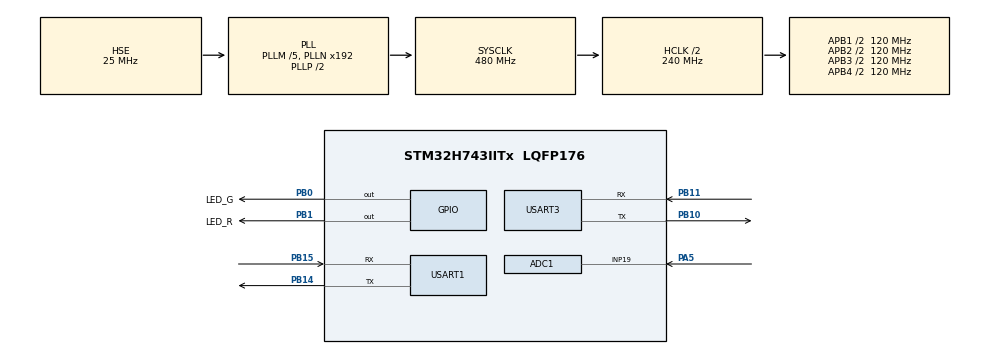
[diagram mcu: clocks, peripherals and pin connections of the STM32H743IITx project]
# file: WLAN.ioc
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ADC1.Channel-0\#ChannelRegularConversion=ADC_CHANNEL_19
ADC1.ExternalTrigConv=ADC_EXTERNALTRIG_T15_TRGO
ADC1.NbrOfConversionFlag=1
ADC1.OffsetNumber-0\#ChannelRegularConversion=ADC_OFFSET_NONE
ADC1.OffsetSignedSaturation-0\#ChannelRegularConversion=DISABLE
ADC1.Rank-0\#ChannelRegularConversion=1
ADC1.SamplingTime-0\#ChannelRegularConversion=ADC_SAMPLETIME_1CYCLE_5
ADC1.master=1
Dma.ADC1.2.Direction=DMA_PERIPH_TO_MEMORY
Dma.ADC1.2.EventEnable=DISABLE
Dma.ADC1.2.FIFOMode=DMA_FIFOMODE_DISABLE
Dma.ADC1.2.Instance=DMA1_Stream2
Dma.ADC1.2.MemDataAlignment=DMA_MDATAALIGN_HALFWORD
Dma.ADC1.2.MemInc=DMA_MINC_ENABLE
Dma.ADC1.2.Mode=DMA_CIRCULAR
Dma.ADC1.2.PeriphDataAlignment=DMA_PDATAALIGN_HALFWORD
Dma.ADC1.2.PeriphInc=DMA_PINC_DISABLE
Dma.ADC1.2.Polarity=HAL_DMAMUX_REQ_GEN_RISING
Dma.ADC1.2.Priority=DMA_PRIORITY_HIGH
Dma.ADC1.2.RequestNumber=1
Dma.ADC1.2.SignalID=NONE
Dma.ADC1.2.SyncEnable=DISABLE
Dma.ADC1.2.SyncPolarity=HAL_DMAMUX_SYNC_NO_EVENT
Dma.ADC1.2.SyncRequestNumber=1
Dma.ADC1.2.SyncSignalID=NONE
Dma.Request0=USART1_RX
Dma.Request1=USART3_RX
Dma.Request2=ADC1
Dma.USART1_RX.0.Direction=DMA_PERIPH_TO_MEMORY
Dma.USART1_RX.0.EventEnable=DISABLE
Dma.USART1_RX.0.FIFOMode=DMA_FIFOMODE_DISABLE
Dma.USART1_RX.0.Instance=DMA1_Stream0
Dma.USART1_RX.0.MemDataAlignment=DMA_MDATAALIGN_BYTE
Dma.USART1_RX.0.MemInc=DMA_MINC_ENABLE
Dma.USART1_RX.0.Mode=DMA_NORMAL
Dma.USART1_RX.0.PeriphDataAlignment=DMA_PDATAALIGN_BYTE
Dma.USART1_RX.0.PeriphInc=DMA_PINC_DISABLE
Dma.USART1_RX.0.Polarity=HAL_DMAMUX_REQ_GEN_RISING
Dma.USART1_RX.0.Priority=DMA_PRIORITY_LOW
Dma.USART1_RX.0.RequestNumber=1
Dma.USART1_RX.0.SignalID=NONE
Dma.USART1_RX.0.SyncEnable=DISABLE
Dma.USART1_RX.0.SyncPolarity=HAL_DMAMUX_SYNC_NO_EVENT
Dma.USART1_RX.0.SyncRequestNumber=1
Dma.USART1_RX.0.SyncSignalID=NONE
Dma.USART3_RX.1.Direction=DMA_PERIPH_TO_MEMORY
Dma.USART3_RX.1.EventEnable=DISABLE
Dma.USART3_RX.1.FIFOMode=DMA_FIFOMODE_DISABLE
Dma.USART3_RX.1.Instance=DMA1_Stream1
Dma.USART3_RX.1.MemDataAlignment=DMA_MDATAALIGN_BYTE
Dma.USART3_RX.1.MemInc=DMA_MINC_ENABLE
Dma.USART3_RX.1.Mode=DMA_NORMAL
Dma.USART3_RX.1.PeriphDataAlignment=DMA_PDATAALIGN_BYTE
Dma.USART3_RX.1.PeriphInc=DMA_PINC_DISABLE
Dma.USART3_RX.1.Polarity=HAL_DMAMUX_REQ_GEN_RISING
Dma.USART3_RX.1.Priority=DMA_PRIORITY_LOW
Dma.USART3_RX.1.RequestNumber=1
Dma.USART3_RX.1.SignalID=NONE
Dma.USART3_RX.1.SyncEnable=DISABLE
Dma.USART3_RX.1.SyncPolarity=HAL_DMAMUX_SYNC_NO_EVENT
Dma.USART3_RX.1.SyncRequestNumber=1
Dma.USART3_RX.1.SyncSignalID=NONE
Mcu.Family=STM32H7
Mcu.Name=STM32H743IITx
Mcu.Package=LQFP176
NVIC.ADC_IRQn=true\:0\:0\:false\:false\:true\:true\:true\:true
NVIC.DMA1_Stream0_IRQn=true\:0\:0\:false\:false\:true\:false\:true\:true
NVIC.DMA1_Stream1_IRQn=true\:0\:0\:false\:false\:true\:false\:true\:true
NVIC.DMA1_Stream2_IRQn=true\:0\:0\:false\:false\:true\:false\:true\:true
NVIC.PriorityGroup=NVIC_PRIORITYGROUP_4
NVIC.USART1_IRQn=true\:0\:0\:false\:false\:true\:true\:true\:true
PA13\ (JTMS/SWDIO).Mode=Serial_Wire
PA13\ (JTMS/SWDIO).Signal=DEBUG_JTMS-SWDIO
PA14\ (JTCK/SWCLK).Mode=Serial_Wire
PA14\ (JTCK/SWCLK).Signal=DEBUG_JTCK-SWCLK
PA5.Signal=ADCx_INP19
PB0.GPIO_Label=LED_G
PB0.Signal=GPIO_Output
PB1.GPIO_Label=LED_R
PB1.Signal=GPIO_Output
PB10.Mode=Asynchronous
PB10.Signal=USART3_TX
PB11.Mode=Asynchronous
PB11.Signal=USART3_RX
PB14.Mode=Asynchronous
PB14.Signal=USART1_TX
PB15.Mode=Asynchronous
PB15.Signal=USART1_RX
PH0-OSC_IN\ (PH0).Mode=HSE-External-Oscillator
PH0-OSC_IN\ (PH0).Signal=RCC_OSC_IN
PH1-OSC_OUT\ (PH1).Mode=HSE-External-Oscillator
PH1-OSC_OUT\ (PH1).Signal=RCC_OSC_OUT
ProjectManager.HeapSize=0x200
ProjectManager.StackSize=0x400
ProjectManager.TargetToolchain=MDK-ARM V5
RCC.ADCFreq_Value=75000000
RCC.APB1Freq_Value=120000000
RCC.APB2Freq_Value=120000000
RCC.APB3Freq_Value=120000000
RCC.APB4Freq_Value=120000000
RCC.CortexFreq_Value=480000000
RCC.D1PPRE=RCC_APB3_DIV2
RCC.D2PPRE1=RCC_APB1_DIV2
RCC.D2PPRE2=RCC_APB2_DIV2
RCC.D3PPRE=RCC_APB4_DIV2
RCC.DIVM1=5
RCC.DIVM2=2
RCC.DIVN1=192
RCC.DIVN2=12
RCC.DIVN3=192
RCC.EnbaleCSS=true
RCC.HCLKFreq_Value=240000000
RCC.HPRE=RCC_HCLK_DIV2
RCC.HSE_VALUE=25000000
RCC.PLLSourceVirtual=RCC_PLLSOURCE_HSE
RCC.SYSCLKFreq_VALUE=480000000
RCC.SYSCLKSource=RCC_SYSCLKSOURCE_PLLCLK
RCC.USBFreq_Value=480000000
SH.ADCx_INP19.0=ADC1_INP19,IN19-Single-Ended
TIM15.AutoReloadPreload=TIM_AUTORELOAD_PRELOAD_ENABLE
TIM15.Period=6
TIM15.TIM_MasterOutputTrigger=TIM_TRGO_UPDATE
USART1.VirtualMode-Asynchronous=VM_ASYNC
USART3.VirtualMode-Asynchronous=VM_ASYNC
VP_TIM15_VS_ClockSourceINT.Mode=Internal
board=custom

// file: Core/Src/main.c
/* USER CODE BEGIN Header */
/**
  ******************************************************************************
  * @file           : main.c
  * @brief          : Main program body
  ******************************************************************************
  * @attention
  *
  * Copyright (c) 2023 STMicroelectronics.
  * All rights reserved.
  *
  * This software is licensed under terms that can be found in the LICENSE file
  * in the root directory of this software component.
  * If no LICENSE file comes with this software, it is provided AS-IS.
  *
  ******************************************************************************
  */
/* USER CODE END Header */
#include "main.h"
#include "adc.h"
#include "dma.h"
#include "tim.h"
#include "usart.h"
#include "gpio.h"

/* USER CODE BEGIN Includes */
#include <stdio.h>
#include <stdlib.h>
#include <string.h>
//#include "arm_math.h"
/* USER CODE END Includes */

/* USER CODE BEGIN PTD */
#ifndef _ARM_MATH_TYPES_H_
typedef float float32_t;
typedef double float64_t;
typedef struct
  {
          uint16_t fftLen;                   /**< length of the FFT. */
    const float32_t *pTwiddle;         /**< points to the Twiddle factor table. */
    const uint16_t *pBitRevTable;      /**< points to the bit reversal table. */
          uint16_t bitRevLength;             /**< bit reversal table length. */
#if defined(ARM_MATH_MVEF) && !defined(ARM_MATH_AUTOVECTORIZE)
   const uint32_t *rearranged_twiddle_tab_stride1_arr;        /**< Per stage reordered twiddle pointer (offset 1) */                                                       \
   const uint32_t *rearranged_twiddle_tab_stride2_arr;        /**< Per stage reordered twiddle pointer (offset 2) */                                                       \
   const uint32_t *rearranged_twiddle_tab_stride3_arr;        /**< Per stage reordered twiddle pointer (offset 3) */                                                       \
   const float32_t *rearranged_twiddle_stride1; /**< reordered twiddle offset 1 storage */                                                                   \
   const float32_t *rearranged_twiddle_stride2; /**< reordered twiddle offset 2 storage */                                                                   \
   const float32_t *rearranged_twiddle_stride3;
#endif
  } arm_cfft_instance_f32;
typedef struct {
  arm_cfft_instance_f32 Sint;      /**< Internal CFFT structure. */
  uint16_t fftLenRFFT;             /**< length of the real sequence */
  const float32_t * pTwiddleRFFT;        /**< Twiddle factors real stage  */
} arm_rfft_fast_instance_f32;
#endif
/* USER CODE END PTD */

/* USER CODE BEGIN PD */
#define INPUT_ZEROING 0
#define N 1200
/* USER CODE END PD */

/* USER CODE BEGIN PV */
uint16_t adcIn0;
uint16_t *adcIn;
/* USER CODE END PV */

void SystemClock_Config(void);
/* USER CODE BEGIN PFP */
void sampleStart(int);
/* USER CODE END PFP */

int main(void)
{
  /* USER CODE BEGIN 1 */
  adcIn = (uint16_t*)malloc(19200); //1300 * 16
  /* USER CODE END 1 */

  /* MCU Configuration--------------------------------------------------------*/

  /* Reset of all peripherals, Initializes the Flash interface and the Systick. */
  HAL_Init();

  /* Configure the system clock */
  SystemClock_Config();

  /* Initialize all configured peripherals */
  MX_GPIO_Init();
  MX_USART1_UART_Init();
  MX_DMA_Init();
  MX_USART3_UART_Init();
  MX_ADC1_Init();
  MX_TIM15_Init();
  /* USER CODE BEGIN 2 */
  HAL_ADC_Start_DMA(&hadc1, (uint32_t*)adcIn, 19200);
  /* USER CODE END 2 */

  /* Infinite loop */
  while (1)
  {

  }
}

void SystemClock_Config(void)
{
  RCC_OscInitTypeDef RCC_OscInitStruct = {0};
  RCC_ClkInitTypeDef RCC_ClkInitStruct = {0};

  /** Supply configuration update enable
  */
  HAL_PWREx_ConfigSupply(PWR_LDO_SUPPLY);

  /** Configure the main internal regulator output voltage
  */
  __HAL_PWR_VOLTAGESCALING_CONFIG(PWR_REGULATOR_VOLTAGE_SCALE1);

  while(!__HAL_PWR_GET_FLAG(PWR_FLAG_VOSRDY)) {}

  __HAL_RCC_SYSCFG_CLK_ENABLE();
  __HAL_PWR_VOLTAGESCALING_CONFIG(PWR_REGULATOR_VOLTAGE_SCALE0);

  while(!__HAL_PWR_GET_FLAG(PWR_FLAG_VOSRDY)) {}

  /** Macro to configure the PLL clock source
  */
  __HAL_RCC_PLL_PLLSOURCE_CONFIG(RCC_PLLSOURCE_HSE);

  /** Initializes the RCC Oscillators according to the specified parameters
  * in the RCC_OscInitTypeDef structure.
  */
  RCC_OscInitStruct.OscillatorType = RCC_OSCILLATORTYPE_HSE;
  RCC_OscInitStruct.HSEState = RCC_HSE_ON;
  RCC_OscInitStruct.PLL.PLLState = RCC_PLL_ON;
  RCC_OscInitStruct.PLL.PLLSource = RCC_PLLSOURCE_HSE;
  RCC_OscInitStruct.PLL.PLLM = 5;
  RCC_OscInitStruct.PLL.PLLN = 192;
  RCC_OscInitStruct.PLL.PLLP = 2;
  RCC_OscInitStruct.PLL.PLLQ = 2;
  RCC_OscInitStruct.PLL.PLLR = 2;
  RCC_OscInitStruct.PLL.PLLRGE = RCC_PLL1VCIRANGE_2;
  RCC_OscInitStruct.PLL.PLLVCOSEL = RCC_PLL1VCOWIDE;
  RCC_OscInitStruct.PLL.PLLFRACN = 0;
  if (HAL_RCC_OscConfig(&RCC_OscInitStruct) != HAL_OK)
  {
    Error_Handler();
  }

  /** Initializes the CPU, AHB and APB buses clocks
  */
  RCC_ClkInitStruct.ClockType = RCC_CLOCKTYPE_HCLK|RCC_CLOCKTYPE_SYSCLK
                              |RCC_CLOCKTYPE_PCLK1|RCC_CLOCKTYPE_PCLK2
                              |RCC_CLOCKTYPE_D3PCLK1|RCC_CLOCKTYPE_D1PCLK1;
  RCC_ClkInitStruct.SYSCLKSource = RCC_SYSCLKSOURCE_PLLCLK;
  RCC_ClkInitStruct.SYSCLKDivider = RCC_SYSCLK_DIV1;
  RCC_ClkInitStruct.AHBCLKDivider = RCC_HCLK_DIV2;
  RCC_ClkInitStruct.APB3CLKDivider = RCC_APB3_DIV2;
  RCC_ClkInitStruct.APB1CLKDivider = RCC_APB1_DIV2;
  RCC_ClkInitStruct.APB2CLKDivider = RCC_APB2_DIV2;
  RCC_ClkInitStruct.APB4CLKDivider = RCC_APB4_DIV2;

  if (HAL_RCC_ClockConfig(&RCC_ClkInitStruct, FLASH_LATENCY_4) != HAL_OK)
  {
    Error_Handler();
  }

  /** Enables the Clock Security System
  */
  HAL_RCC_EnableCSS();
}

/* USER CODE BEGIN 4 */

float32_t *find_cycle(uint16_t data[N])
{
  int i;
  uint16_t min_val = data[0];
  int min_index = 0;

  // find the minimum value and its index
  for (i = 1; i < N; i++)
  {
    if (data[i] < min_val)
    {
      min_val = data[i];
      min_index = i;
    }
  }

  // find the next occurrence of the minimum value
  int next_min_index = -1;
  for (i = min_index + 1; i < N; i++)
  {
    if (data[i] == min_val)
    {
      next_min_index = i;
      break;
    }
  }

  if (next_min_index == -1)
  {
    printf("Unable to determine cycle length.\n");
    return NULL;
  }

  int cycle_length = next_min_index - min_index;

  // determine M based on cycle_length
  int M = 2;
  while (M < cycle_length)
  {
    M *= 2;
  }
  M /= 2;

  // interpolate to get M values in one cycle
  float32_t *cycle = (float32_t *)malloc(M * sizeof(float32_t));
  for (i = 0; i < M; i++)
  {
    int index = min_index + (int)(i * ((double)cycle_length / M));
    cycle[i] = data[index];
  }

  // process data using __arm_rfft_fast32() function
  arm_rfft_fast_instance_f32 S;
  arm_rfft_fast_init_f32(&S, M);
  arm_rfft_fast_f32(&S, cycle, cycle, 0);

  // create output array
  float32_t *output = (float32_t *)malloc(5 * sizeof(float32_t));

  // copy results to output array
  output[0] = cycle[0];
  output[1] = cycle[2];
  output[2] = cycle[4];
  output[3] = cycle[6];
  output[4] = cycle[8];

  free(cycle);

  return output;
}

/**
 * @brief Erases previous data and starts sampling incoming signal using ADC.
 *
 * @param tgtFreq Expected frequency of the signal.
 */
void sampleStart(int tgtFreq) {
  memset(adcIn, 0, 19200);
  HAL_ADC_Start_DMA(&hadc1, (uint32_t*)adcIn, 19200);
}

void HAL_ADC_ConvCpltCallback(ADC_HandleTypeDef* hadc) {
  HAL_ADC_Stop_DMA(&hadc1);

}
/* USER CODE END 4 */

void Error_Handler(void)
{
  __disable_irq();
  while (1)
  {
  }
}
